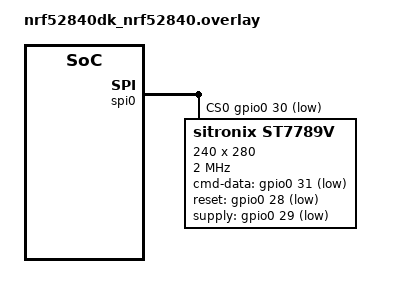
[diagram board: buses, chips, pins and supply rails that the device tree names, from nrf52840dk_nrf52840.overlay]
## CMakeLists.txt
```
# SPDX-License-Identifier: Apache-2.0

cmake_minimum_required(VERSION 3.20.0)

find_package(Zephyr REQUIRED HINTS $ENV{ZEPHYR_BASE})
project(NONE)

FILE(GLOB app_sources src/*.c)
# NORDIC SDK APP START
target_sources(app PRIVATE ${app_sources})
# NORDIC SDK APP END
```

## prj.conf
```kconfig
CONFIG_LV_Z_MEM_POOL_NUMBER_BLOCKS=8
CONFIG_MAIN_STACK_SIZE=2048

CONFIG_DISPLAY=y

CONFIG_LOG=y

CONFIG_LVGL=y
CONFIG_LV_MEM_CUSTOM=y
CONFIG_LV_USE_LOG=y
CONFIG_LV_USE_LABEL=y
CONFIG_LV_USE_BTN=y
CONFIG_LV_USE_IMG=y
CONFIG_LV_USE_MONKEY=y
CONFIG_LV_FONT_DEFAULT_MONTSERRAT_32=y
```

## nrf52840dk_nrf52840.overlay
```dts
// To get started, press Ctrl+Space to bring up the completion menu and view the available nodes.

// You can also use the buttons in the sidebar to perform actions on nodes.
// Actions currently available include:

// * Enabling / disabling the node
// * Adding the bus to a bus
// * Removing the node
// * Connecting ADC channels

// For more help, browse the DeviceTree documentation at https://docs.zephyrproject.org/latest/guides/dts/index.html
// You can also visit the nRF DeviceTree extension documentation at https://nrfconnect.github.io/vscode-nrf-connect/devicetree/nrfdevicetree.html

&spi0 {
	st7789v@0 {
		compatible = "sitronix,st7789v";
		reg = <0x0>;
		cmd-data-gpios = <&gpio0 31 GPIO_ACTIVE_LOW>;
		// supply-gpios = <&gpio0 29 0>;
		label = "ST7789V";
		status = "okay";
		spi-max-frequency = <2000000>;
		width = <240>;
		height = <280>;
		x-offset = <0>;
		y-offset = <20>;
		vcom = <0x32>;
		gctrl = <0x35>;
		vrhs = <0x15>;
		mdac = <0x00>;
		gamma = <0x01>;
		colmod = <0x55>;
		lcm = <0x2c>;
		porch-param = [0c 0c 00 33 33];
		cmd2en-param = [5a 69 02 01];
		pwctrl1-param = [a4 a1];
		pvgam-param = [d0 08 0e 09 09 05 31 33 48 17 14 15 31 34];
		nvgam-param = [d0 08 0e 09 09 15 31 33 48 17 14 15 31 34];
		ram-param = [00 f8];
		rgb-param = [cd 08 14];
		vdvs = <0x20>;
		reset-gpios = <&gpio0 28 GPIO_ACTIVE_LOW>;

		supply-gpios = <&gpio0 29 GPIO_ACTIVE_LOW>;
	};

	status = "okay";
	cs-gpios = <&gpio0 30 GPIO_ACTIVE_LOW>;
};


&spi0_default {
	group1 {
		psels = <NRF_PSEL(SPIM_SCK, 0, 3)>, <NRF_PSEL(SPIM_MOSI, 0, 4)>;
	};
};

/ {
	chosen {
		zephyr,display = &{/soc/spi@40003000/st7789v@0/};
	};
};
```

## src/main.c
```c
/*
 * Copyright (c) 2012-2014 Wind River Systems, Inc.
 *
 * SPDX-License-Identifier: Apache-2.0
 */

#include <zephyr/device.h>
#include <zephyr/devicetree.h>
#include <zephyr/drivers/display.h>
#include <zephyr/drivers/gpio.h>
#include <lvgl.h>
#include <stdio.h>
#include <string.h>
#include <zephyr/kernel.h>
#include <hal/nrf_gpio.h>

#define LCD_BLK_PIN NRF_GPIO_PIN_MAP(0, 29)   // Backlight pin

const struct device *display_dev = DEVICE_DT_GET(DT_CHOSEN(zephyr_display));

int main(void)
{

	nrf_gpio_cfg_output(LCD_BLK_PIN);
	nrf_gpio_pin_set(LCD_BLK_PIN);

	if (device_is_ready(display_dev)) {
		printf("Display device is ready\n");
	} else {
		printf("Display device is not ready\n");
	}

	display_blanking_off(display_dev);

	lv_obj_t *label;
	label = lv_label_create(lv_scr_act());
	
	lv_obj_align(label, LV_ALIGN_CENTER, 0, 0);

	char display_text[8];
	uint16_t counter = 0;

	while(1)
	{
		k_sleep(K_MSEC(10));
		sprintf(display_text, "%d", counter++);
		lv_label_set_text(label, display_text);
		lv_task_handler();
	}

	return 0;
}
```
